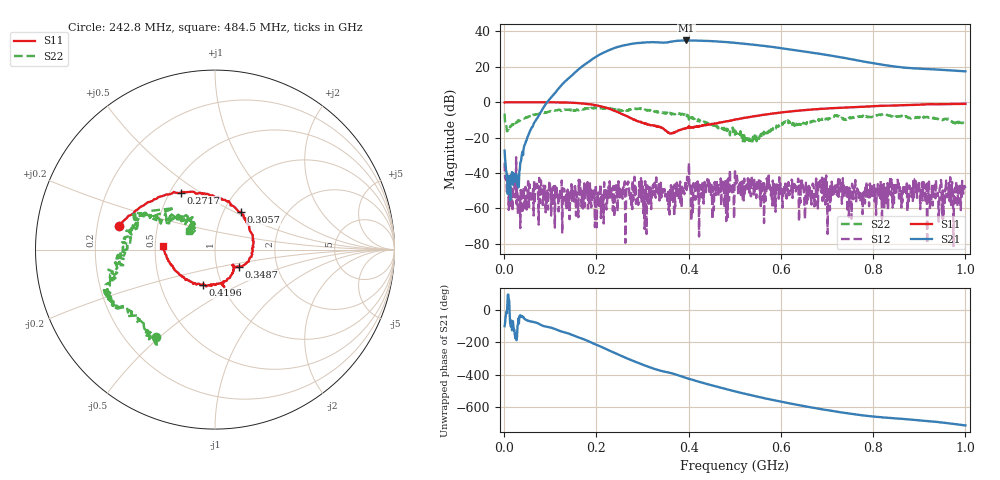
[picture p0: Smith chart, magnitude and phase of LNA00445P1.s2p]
! Created with skrf 1.9.0 (http://scikit-rf.org).
# Hz S RI R 50.0
!freq ReS11 ImS11 ReS21 ImS21 ReS12 ImS12 ReS22 ImS22
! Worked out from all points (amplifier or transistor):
!   1001 points, 1 MHz to 1 GHz, reference 50 ohm
!   highest |S21| = 34.9 dB at 394.6 MHz (marker M1)
!   |S21| within 3 dB of that: 255.9 MHz to 560.7 MHz (304.8 MHz wide, 74.6 % of centre)
!   unconditionally stable (mu >= 1): 209 MHz to 278.6 MHz; 296.7 MHz to 400.1 MHz; 401.1 MHz to end of sweep (the widest 3 of 35)
!   at 166.8 MHz: K = 2.20, MAG = 31.3 dB, |S12| = -55.2 dB
!   at 500.5 MHz: K = 1.08, MAG = 34.6 dB, |S12| = -39.0 dB
!   at 1 GHz: K = 3.37, MAG = 24.8 dB, |S12| = -48.5 dB
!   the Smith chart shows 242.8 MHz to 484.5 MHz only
!   S11 on the Smith chart (normalised r, x): 242.8 MHz: 0.29, +0.11; 271.7 MHz: 0.57, +0.42; 305.7 MHz: 1.21, +0.54; 348.7 MHz: 1.27, -0.25; 419.6 MHz: 0.81, -0.34; 484.5 MHz: 0.55, +0.02
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1000000  0.9815 -0.00415  -0.00887 -0.0421  -0.019 0.00481  0.3363 0.3375
1.08892e8  0.5284 -0.8435  -0.832 -1.537  0.00283 0.0032  0.4207 -0.3889
1.67833e8  -0.2189 -0.902  -9.993 -0.4337  0.000781 0.000789  0.0211 -0.636
2.09791e8  -0.6564 -0.3929  -15.41 17.17  0.000416 -0.000329  -0.2255 -0.6469
2.42758e8  -0.5366 0.1324  0.6496 35.13  -0.00238 0.00335  -0.3268 -0.4869
2.71729e8  -0.1879 0.3166  25.92 34.86  -3.74e-05 -0.00199  -0.5134 -0.3142
3.05695e8  0.1457 0.2104  46.74 12.92  -0.00369 0.00458  -0.5847 -0.1743
3.34666e8  0.2043 -0.0322  47.91 -10.83  -0.00115 0.00228  -0.5186 -0.0312
3.48652e8  0.1311 -0.0959  44.78 -18.45  0.00209 0.000651  -0.5174 0.0415
3.7063e8  0.1036 -0.0966  42.16 -33.03  -0.00108 6.86e-05  -0.4325 0.1641
3.94606e8  0.0607 -0.1755  27.48 -48.3  -0.00132 0.00506  -0.4022 0.1974
4.19581e8  -0.0663 -0.1977  8.099 -54.43  0.00552 0.00181  -0.2687 0.1486
4.49551e8  -0.1981 -0.14  -14.32 -51.06  0.00267 0.00422  -0.1868 0.1593
4.84516e8  -0.2902 0.0205  -32.99 -37.28  0.000557 -5.54e-05  -0.1427 0.1025
5.005e8  -0.3037 0.1176  -38.21 -28.65  0.011 0.00203  -0.0953 0.0734
5.39461e8  -0.2363 0.3201  -41.53 -7.749  0.00391 -0.000209  -0.1049 -0.0136
5.85415e8  -0.0511 0.4823  -34.08 11.15  0.000966 -0.000715  -0.1749 -0.0613
6.25375e8  0.1406 0.5403  -22.84 19.57  0.00101 0.00169  -0.2334 -0.1112
6.67333e8  0.3422 0.5179  -11.44 22.2  -0.00179 -0.00233  -0.2894 -0.0134
7.46254e8  0.6113 0.3635  2.612 16.67  -0.000951 -0.0016  -0.3258 0.0781
8.34166e8  0.7915 0.1178  6.311 8.695  -0.00044 -0.0039  -0.3689 0.1989
1e9  0.7918 -0.4301  7.424 0.941  -0.000929 -0.00364  -0.0535 0.2477
